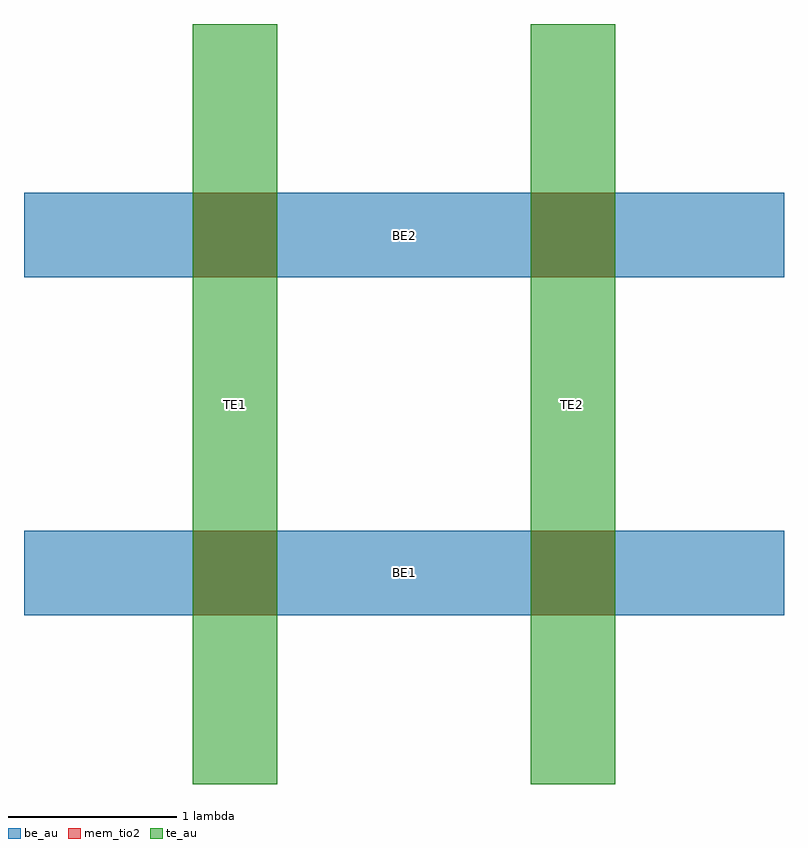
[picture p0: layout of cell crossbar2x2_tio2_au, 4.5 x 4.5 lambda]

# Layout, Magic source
magic
tech openmemristorpdk
magscale 1 2
<< be_au >>
rect 0 2 9 3
rect 0 6 9 7
<< te_au >>
rect 2 0 3 9
rect 6 0 7 9
<< mem_tio2 >>
rect 2 2 3 3
rect 6 2 7 3
rect 2 6 3 7
rect 6 6 7 7
<< labels >>
rlabel be_au 0 2 9 3 0 BE1
port 0 nsew
rlabel be_au 0 6 9 7 0 BE2
port 1 nsew
rlabel te_au 2 0 3 9 0 TE1
port 2 nsew
rlabel te_au 6 0 7 9 0 TE2
port 3 nsew
<< end >>
